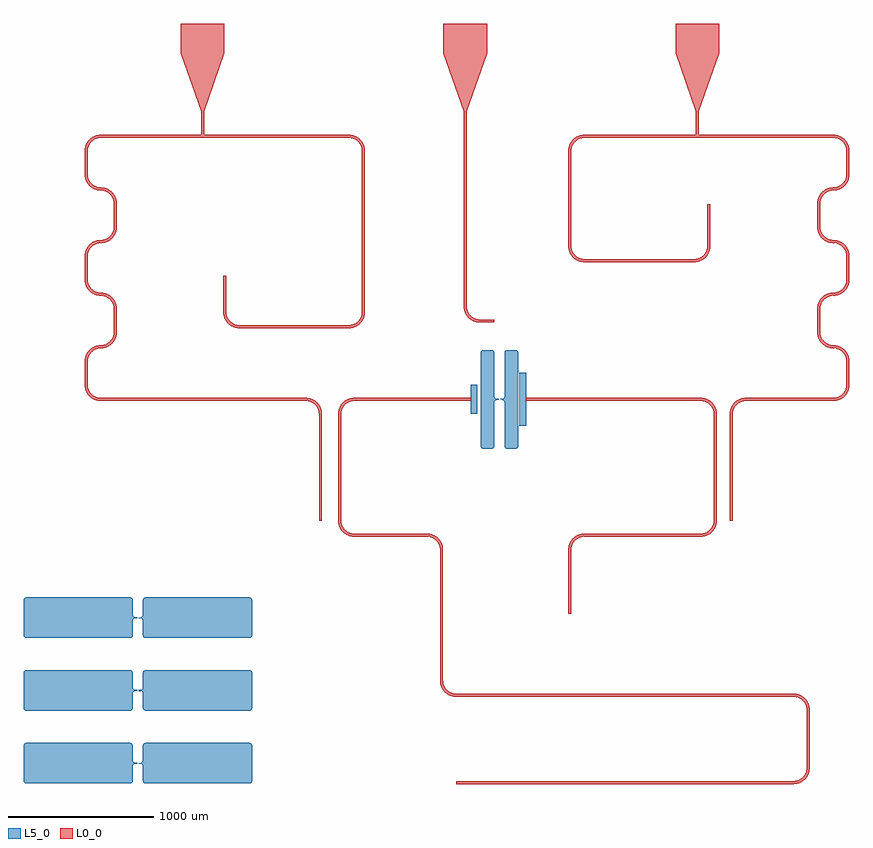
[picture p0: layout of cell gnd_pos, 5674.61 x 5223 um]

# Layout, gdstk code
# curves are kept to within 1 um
import gdstk
lib = gdstk.Library(unit=1e-6, precision=1e-09)
def R(c, l, rs):  # rectangles x0, y0, x1, y1
    for r in rs: c.add(gdstk.rectangle(r[:2], r[2:], *l))
def A(c, l, x, y, w, h, nx, ny, dx, dy):  # array of equal rectangles
    R(c, l, [(x+i*dx, y+j*dy, x+i*dx+w, y+j*dy+h) for i in range(nx) for j in range(ny)])
def P(c, l, *ps):  # polygons
    for p in ps: c.add(gdstk.Polygon(p, *l))
L0_0 = (0, 0)
L5_0 = (5, 0)

gnd_pos = lib.new_cell('gnd_pos')
A(gnd_pos, L0_0, 884.888, 3600, 20, 161.6, 1, 3, 0, 723.2)
A(gnd_pos, L0_0, 6119.612, 3600, 20, 161.6, 1, 3, 0, 723.2)
R(gnd_pos, L0_0, [(3436.9,857,5756.661,877), (5846.661,967,5866.661,1367), (3436.9,1457,5756.661,1477), (3326.9,1567,3346.9,2467), (4208.1,2027.239,4228.1,2051.239), (4208.1,2051.239,4228.1,2467), (2736.9,2557,3236.9,2577), (4318.1,2557,5118.1,2577), (2494.9,2667,2514.9,3400), (2626.9,2667,2646.9,3400), (5208.1,2667,5228.1,3400), (5318.1,2667,5338.1,3400), (994.888,3490,2404.9,3510), (2736.9,3490,3539.9,3510), (3915.1,3490,5118.1,3510), (5428.1,3490,6029.612,3510), (1084.888,3961.6,1104.888,4123.2), (5919.612,3961.6,5939.612,4123.2), (1947.444,3990,2700,4010), (3600,4028.8,3700,4048.8), (1837.444,4100,1857.444,4349.205), (2790,4100,2810,5208), (3490,4138.8,3510,5480), (4318.1,4444,5073.856,4464), (4208.1,4554,4228.1,5208), (5163.856,4554,5183.856,4841.105), (1084.888,4684.8,1104.888,4846.4), (5919.612,4684.8,5939.612,4846.4), (994.888,5298,1695,5318), (1695,5298,2700,5318), (4318.1,5298,5095,5318), (5095,5298,6029.612,5318), (1685,5308,1705,5480), (5085,5308,5105,5480), (1545,5880,1845,6080), (3350,5880,3650,6080), (4945,5880,5245,6080)])
P(gnd_pos, L0_0, [(3490,5480),(3350,5880),(3650,5880),(3510,5480)],
  [(3600,4028.8),(3579.271,4030.771),(3559.285,4036.613),(3538.269,4047.754),(3522.218,4061.018),(3508.954,4077.069),(3497.813,4098.085),(3491.971,4118.071),(3490,4138.8),(3510,4138.8),(3511.186,4124.24),(3514.711,4110.063),(3520.484,4096.643),(3529.853,4082.414),(3543.614,4068.653),(3560.012,4058.171),(3578.28,4051.46),(3600,4048.8)],
  [(2626.9,3400),(2628.871,3420.729),(2634.713,3440.715),(2645.854,3461.731),(2659.118,3477.782),(2675.169,3491.046),(2696.185,3502.187),(2716.171,3508.029),(2736.9,3510),(2736.9,3490),(2722.34,3488.814),(2708.163,3485.289),(2694.743,3479.516),(2680.514,3470.147),(2666.753,3456.386),(2656.271,3439.988),(2649.56,3421.72),(2646.9,3400)],
  [(2736.9,2557),(2716.171,2558.971),(2696.185,2564.813),(2675.169,2575.954),(2659.118,2589.218),(2645.854,2605.269),(2634.713,2626.285),(2628.871,2646.271),(2626.9,2667),(2646.9,2667),(2648.086,2652.44),(2651.611,2638.263),(2657.384,2624.843),(2666.753,2610.614),(2680.514,2596.853),(2696.912,2586.371),(2715.18,2579.66),(2736.9,2577)],
  [(3326.9,2467),(3325.714,2481.56),(3322.189,2495.737),(3316.416,2509.157),(3307.047,2523.386),(3293.286,2537.147),(3276.888,2547.629),(3258.62,2554.34),(3236.9,2557),(3236.9,2577),(3263.447,2573.749),(3285.774,2565.546),(3305.816,2552.735),(3322.635,2535.916),(3332.655,2521.138),(3340.153,2504.933),(3344.929,2487.729),(3346.739,2472.955),(3346.9,2467)],
  [(3436.9,1457),(3416.171,1458.971),(3396.185,1464.813),(3375.169,1475.954),(3359.118,1489.218),(3345.854,1505.269),(3334.713,1526.285),(3328.871,1546.271),(3326.9,1567),(3346.9,1567),(3348.086,1552.44),(3351.611,1538.263),(3357.384,1524.843),(3366.753,1510.614),(3380.514,1496.853),(3396.912,1486.371),(3415.18,1479.66),(3436.9,1477)],
  [(5846.661,1367),(5845.475,1381.56),(5841.95,1395.737),(5836.177,1409.157),(5826.808,1423.386),(5813.047,1437.147),(5796.649,1447.629),(5778.382,1454.34),(5756.661,1457),(5756.661,1477),(5783.208,1473.749),(5805.535,1465.546),(5825.577,1452.735),(5842.397,1435.916),(5852.417,1421.138),(5858.849,1407.715),(5864.089,1390.647),(5866.5,1372.955),(5866.661,1367)],
  [(5756.661,857),(5756.661,877),(5771.221,878.186),(5785.398,881.711),(5798.818,887.484),(5813.047,896.853),(5826.808,910.614),(5837.29,927.012),(5844.001,945.28),(5846.661,967),(5866.661,967),(5864.69,946.271),(5858.849,926.285),(5847.707,905.269),(5834.443,889.218),(5818.392,875.954),(5800.129,865.953),(5780.308,859.572)],
  [(1685,5480),(1545,5880),(1845,5880),(1705,5480)],
  [(2494.9,3400),(2493.714,3414.56),(2490.189,3428.737),(2484.416,3442.157),(2475.047,3456.386),(2461.286,3470.147),(2444.888,3480.629),(2426.62,3487.34),(2404.9,3490),(2404.9,3510),(2431.447,3506.749),(2453.774,3498.546),(2473.816,3485.735),(2490.635,3468.916),(2500.655,3454.138),(2508.153,3437.933),(2512.929,3420.729),(2514.739,3405.955),(2514.9,3400)],
  [(994.888,3490),(974.159,3491.971),(954.173,3497.813),(933.157,3508.954),(917.106,3522.218),(903.842,3538.269),(892.701,3559.285),(886.859,3579.271),(884.888,3600),(904.888,3600),(906.074,3585.44),(909.599,3571.263),(915.372,3557.843),(924.741,3543.614),(938.502,3529.853),(954.9,3519.371),(973.168,3512.66),(994.888,3510)],
  [(884.888,3761.6),(886.859,3782.329),(892.701,3802.315),(903.842,3823.331),(917.106,3839.382),(933.157,3852.646),(954.173,3863.787),(974.159,3869.629),(994.888,3871.6),(994.888,3851.6),(980.328,3850.414),(966.151,3846.889),(952.731,3841.116),(938.502,3831.747),(924.741,3817.986),(914.259,3801.588),(907.548,3783.32),(904.888,3761.6)],
  [(994.888,3851.6),(994.888,3871.6),(1009.448,3872.786),(1023.625,3876.311),(1037.045,3882.084),(1051.274,3891.453),(1065.035,3905.214),(1076.57,3923.81),(1082.784,3942.253),(1084.888,3961.6),(1104.888,3961.6),(1102.917,3940.871),(1097.075,3920.885),(1085.934,3899.869),(1072.67,3883.818),(1056.619,3870.554),(1035.603,3859.413),(1015.617,3853.571)],
  [(1084.888,4123.2),(1083.702,4137.76),(1080.177,4151.937),(1074.404,4165.357),(1065.035,4179.586),(1051.274,4193.347),(1034.876,4203.829),(1016.608,4210.54),(994.888,4213.2),(994.888,4233.2),(1021.435,4229.949),(1043.762,4221.746),(1063.804,4208.935),(1080.623,4192.116),(1089.142,4179.911),(1097.075,4163.915),(1102.316,4146.847),(1104.727,4129.155),(1104.888,4123.2)],
  [(994.888,4213.2),(974.159,4215.171),(954.173,4221.013),(933.157,4232.154),(917.106,4245.418),(903.842,4261.469),(892.701,4282.485),(886.859,4302.471),(884.888,4323.2),(904.888,4323.2),(906.074,4308.64),(909.599,4294.463),(915.372,4281.043),(924.741,4266.814),(938.502,4253.053),(954.9,4242.571),(973.168,4235.86),(994.888,4233.2)],
  [(884.888,4484.8),(886.859,4505.529),(892.701,4525.515),(903.842,4546.531),(917.106,4562.582),(933.157,4575.846),(954.173,4586.987),(974.159,4592.829),(994.888,4594.8),(994.888,4574.8),(980.328,4573.614),(966.151,4570.089),(952.731,4564.316),(938.502,4554.947),(924.741,4541.186),(914.259,4524.788),(907.548,4506.52),(904.888,4484.8)],
  [(994.888,4574.8),(994.888,4594.8),(1009.448,4595.986),(1023.625,4599.511),(1037.045,4605.284),(1051.274,4614.653),(1065.035,4628.414),(1076.57,4647.01),(1082.784,4665.453),(1084.888,4684.8),(1104.888,4684.8),(1102.917,4664.071),(1097.075,4644.085),(1085.934,4623.069),(1072.67,4607.018),(1056.619,4593.754),(1035.603,4582.613),(1015.617,4576.771)],
  [(1084.888,4846.4),(1083.702,4860.96),(1080.177,4875.137),(1074.404,4888.557),(1065.035,4902.786),(1051.274,4916.547),(1034.876,4927.029),(1016.608,4933.74),(994.888,4936.4),(994.888,4956.4),(1021.435,4953.149),(1043.762,4944.946),(1063.804,4932.135),(1080.623,4915.316),(1089.142,4903.111),(1097.075,4887.115),(1102.316,4870.047),(1104.727,4852.355),(1104.888,4846.4)],
  [(994.888,4936.4),(974.159,4938.371),(954.173,4944.213),(933.157,4955.354),(917.106,4968.618),(903.842,4984.669),(892.701,5005.685),(886.859,5025.671),(884.888,5046.4),(904.888,5046.4),(906.074,5031.84),(909.599,5017.663),(915.372,5004.243),(924.741,4990.014),(938.502,4976.253),(954.9,4965.771),(973.168,4959.06),(994.888,4956.4)],
  [(884.888,5208),(886.859,5228.729),(892.701,5248.715),(903.842,5269.731),(917.106,5285.782),(933.157,5299.046),(954.173,5310.187),(974.159,5316.029),(994.888,5318),(994.888,5298),(980.328,5296.814),(966.151,5293.289),(952.731,5287.516),(938.502,5278.147),(924.741,5264.386),(914.259,5247.988),(907.548,5229.72),(904.888,5208)],
  [(2790,5208),(2788.814,5222.56),(2785.289,5236.737),(2779.516,5250.157),(2770.147,5264.386),(2756.386,5278.147),(2739.988,5288.629),(2721.72,5295.34),(2700,5298),(2700,5318),(2726.547,5314.749),(2748.874,5306.546),(2768.916,5293.735),(2785.735,5276.916),(2795.755,5262.138),(2803.253,5245.933),(2808.029,5228.729),(2809.839,5213.955),(2810,5208)],
  [(2700,3990),(2700,4010),(2714.56,4011.186),(2728.737,4014.711),(2742.157,4020.484),(2756.386,4029.853),(2770.147,4043.614),(2780.629,4060.012),(2787.34,4078.28),(2790,4100),(2810,4100),(2808.029,4079.271),(2802.187,4059.285),(2791.046,4038.269),(2777.782,4022.218),(2761.731,4008.954),(2740.715,3997.813),(2720.729,3991.971)],
  [(1947.444,3990),(1926.715,3991.971),(1906.729,3997.813),(1885.713,4008.954),(1869.662,4022.218),(1856.398,4038.269),(1845.257,4059.285),(1839.415,4079.271),(1837.444,4100),(1857.444,4100),(1858.63,4085.44),(1862.155,4071.263),(1867.928,4057.843),(1877.297,4043.614),(1891.058,4029.853),(1907.456,4019.371),(1925.724,4012.66),(1947.444,4010)],
  [(5208.1,3400),(5206.914,3414.56),(5203.389,3428.737),(5197.616,3442.157),(5188.247,3456.386),(5174.486,3470.147),(5158.088,3480.629),(5139.82,3487.34),(5118.1,3490),(5118.1,3510),(5144.647,3506.749),(5166.974,3498.546),(5187.016,3485.735),(5203.835,3468.916),(5213.855,3454.138),(5221.353,3437.933),(5226.129,3420.729),(5227.939,3405.955),(5228.1,3400)],
  [(5118.1,2557),(5118.1,2577),(5132.66,2578.186),(5146.837,2581.711),(5160.257,2587.484),(5174.486,2596.853),(5188.247,2610.614),(5198.729,2627.012),(5205.44,2645.28),(5208.1,2667),(5228.1,2667),(5226.129,2646.271),(5220.287,2626.285),(5209.146,2605.269),(5195.882,2589.218),(5179.831,2575.954),(5158.815,2564.813),(5138.829,2558.971)],
  [(4208.1,2467),(4210.071,2487.729),(4215.913,2507.715),(4227.054,2528.731),(4240.318,2544.782),(4256.369,2558.046),(4277.385,2569.187),(4297.371,2575.029),(4318.1,2577),(4318.1,2557),(4303.54,2555.814),(4289.363,2552.289),(4275.943,2546.516),(4261.714,2537.147),(4247.953,2523.386),(4237.471,2506.988),(4230.76,2488.72),(4228.1,2467)],
  [(5085,5480),(4945,5880),(5245,5880),(5105,5480)],
  [(5318.1,3400),(5320.071,3420.729),(5325.913,3440.715),(5337.054,3461.731),(5350.318,3477.782),(5366.369,3491.046),(5387.385,3502.187),(5407.371,3508.029),(5428.1,3510),(5428.1,3490),(5413.54,3488.814),(5399.363,3485.289),(5385.943,3479.516),(5371.714,3470.147),(5357.953,3456.386),(5347.471,3439.988),(5340.76,3421.72),(5338.1,3400)],
  [(6029.612,3490),(6029.612,3510),(6044.172,3511.186),(6058.349,3514.711),(6071.769,3520.484),(6085.998,3529.853),(6099.759,3543.614),(6110.241,3560.012),(6116.952,3578.28),(6119.612,3600),(6139.612,3600),(6137.641,3579.271),(6131.799,3559.285),(6120.658,3538.269),(6107.394,3522.218),(6091.343,3508.954),(6070.327,3497.813),(6050.341,3491.971)],
  [(6119.612,3761.6),(6118.426,3776.16),(6114.901,3790.337),(6109.128,3803.757),(6099.759,3817.986),(6085.998,3831.747),(6069.6,3842.229),(6051.332,3848.94),(6029.612,3851.6),(6029.612,3871.6),(6056.159,3868.349),(6078.486,3860.146),(6098.528,3847.335),(6115.347,3830.516),(6125.367,3815.738),(6132.865,3799.533),(6137.641,3782.329),(6139.451,3767.555),(6139.612,3761.6)],
  [(6029.612,3851.6),(6008.883,3853.571),(5988.897,3859.413),(5967.881,3870.554),(5951.83,3883.818),(5938.566,3899.869),(5927.425,3920.885),(5921.583,3940.871),(5919.612,3961.6),(5939.612,3961.6),(5940.798,3947.04),(5944.323,3932.863),(5950.096,3919.443),(5959.465,3905.214),(5973.226,3891.453),(5989.624,3880.971),(6007.892,3874.26),(6029.612,3871.6)],
  [(5919.612,4123.2),(5921.583,4143.929),(5927.425,4163.915),(5938.566,4184.931),(5951.83,4200.982),(5967.881,4214.246),(5988.897,4225.387),(6008.883,4231.229),(6029.612,4233.2),(6029.612,4213.2),(6015.052,4212.014),(6000.875,4208.489),(5987.455,4202.716),(5973.226,4193.347),(5959.465,4179.586),(5947.93,4160.99),(5941.716,4142.547),(5939.612,4123.2)],
  [(6029.612,4213.2),(6029.612,4233.2),(6044.172,4234.386),(6058.349,4237.911),(6071.769,4243.684),(6085.998,4253.053),(6099.759,4266.814),(6110.241,4283.212),(6116.952,4301.48),(6119.612,4323.2),(6139.612,4323.2),(6137.641,4302.471),(6131.799,4282.485),(6120.658,4261.469),(6107.394,4245.418),(6091.343,4232.154),(6070.327,4221.013),(6050.341,4215.171)],
  [(6119.612,4484.8),(6118.426,4499.36),(6114.901,4513.537),(6109.128,4526.957),(6099.759,4541.186),(6085.998,4554.947),(6069.6,4565.429),(6051.332,4572.14),(6029.612,4574.8),(6029.612,4594.8),(6056.159,4591.549),(6078.486,4583.346),(6098.528,4570.535),(6115.347,4553.716),(6125.367,4538.938),(6132.865,4522.733),(6137.641,4505.529),(6139.451,4490.755),(6139.612,4484.8)],
  [(6029.612,4574.8),(6008.883,4576.771),(5988.897,4582.613),(5967.881,4593.754),(5951.83,4607.018),(5938.566,4623.069),(5927.425,4644.085),(5921.583,4664.071),(5919.612,4684.8),(5939.612,4684.8),(5940.798,4670.24),(5944.323,4656.063),(5950.096,4642.643),(5959.465,4628.414),(5973.226,4614.653),(5989.624,4604.171),(6007.892,4597.46),(6029.612,4594.8)],
  [(5919.612,4846.4),(5921.583,4867.129),(5927.425,4887.115),(5938.566,4908.131),(5951.83,4924.182),(5967.881,4937.446),(5988.897,4948.587),(6008.883,4954.429),(6029.612,4956.4),(6029.612,4936.4),(6015.052,4935.214),(6000.875,4931.689),(5987.455,4925.916),(5973.226,4916.547),(5959.465,4902.786),(5947.93,4884.19),(5941.716,4865.747),(5939.612,4846.4)],
  [(6029.612,4936.4),(6029.612,4956.4),(6044.172,4957.586),(6058.349,4961.111),(6071.769,4966.884),(6085.998,4976.253),(6099.759,4990.014),(6110.241,5006.412),(6116.952,5024.68),(6119.612,5046.4),(6139.612,5046.4),(6137.641,5025.671),(6131.799,5005.685),(6120.658,4984.669),(6107.394,4968.618),(6091.343,4955.354),(6070.327,4944.213),(6050.341,4938.371)],
  [(6119.612,5208),(6118.426,5222.56),(6114.901,5236.737),(6109.128,5250.157),(6099.759,5264.386),(6085.998,5278.147),(6069.6,5288.629),(6051.332,5295.34),(6029.612,5298),(6029.612,5318),(6056.159,5314.749),(6078.486,5306.546),(6098.528,5293.735),(6115.347,5276.916),(6125.367,5262.138),(6132.865,5245.933),(6137.641,5228.729),(6139.451,5213.955),(6139.612,5208)],
  [(4208.1,5208),(4210.071,5228.729),(4215.913,5248.715),(4227.054,5269.731),(4240.318,5285.782),(4256.369,5299.046),(4277.385,5310.187),(4297.371,5316.029),(4318.1,5318),(4318.1,5298),(4303.54,5296.814),(4289.363,5293.289),(4275.943,5287.516),(4261.714,5278.147),(4247.953,5264.386),(4237.471,5247.988),(4230.76,5229.72),(4228.1,5208)],
  [(4318.1,4444),(4297.371,4445.971),(4277.385,4451.813),(4256.369,4462.954),(4240.318,4476.218),(4227.054,4492.269),(4215.913,4513.285),(4210.071,4533.271),(4208.1,4554),(4228.1,4554),(4229.286,4539.44),(4232.811,4525.263),(4238.584,4511.843),(4247.953,4497.614),(4261.714,4483.853),(4278.112,4473.371),(4296.38,4466.66),(4318.1,4464)],
  [(5073.856,4444),(5073.856,4464),(5088.416,4465.186),(5102.593,4468.711),(5116.013,4474.484),(5130.242,4483.853),(5144.003,4497.614),(5154.485,4514.012),(5161.196,4532.28),(5163.856,4554),(5183.856,4554),(5181.885,4533.271),(5176.043,4513.285),(5164.902,4492.269),(5151.638,4476.218),(5135.587,4462.954),(5114.571,4451.813),(5094.585,4445.971)],
  [(2700,5298),(2700,5318),(2700,5318),(2700,5298)])
R(gnd_pos, L5_0, [(3871.1,3317.5,3918.1,3682.5), (3536.9,3400,3583.9,3600)])
P(gnd_pos, L5_0, [(3626.4,3161.2),(3619.454,3162.445),(3612.621,3166.704),(3608.444,3172.392),(3606.426,3180.187),(3606.503,3820.823),(3611.225,3831.827),(3621.387,3838.162),(3682.023,3838.697),(3688.808,3836.756),(3694.496,3832.579),(3698.379,3826.687),(3699.974,3819.813),(3700.17,3516.474),(3703.076,3509.702),(3708.903,3505.191),(3730,3504),(3730,3502),(3706,3502),(3706,3503.2),(3702,3503.2),(3702,3496.8),(3706,3496.8),(3706,3498),(3730,3498),(3730,3496),(3708.903,3494.809),(3702.635,3489.698),(3700.075,3482.787),(3699.083,3175.213),(3693.779,3166.704),(3684.026,3161.609)],
  [(3790,3161.2),(3783.054,3162.445),(3776.221,3166.704),(3772.044,3172.392),(3770.026,3180.187),(3769.83,3483.526),(3766.924,3490.298),(3761.097,3494.809),(3740,3496),(3740,3498),(3764,3498),(3764,3496.8),(3768,3496.8),(3768,3503.2),(3764,3503.2),(3764,3502),(3740,3502),(3740,3504),(3761.097,3505.191),(3767.365,3510.302),(3769.925,3517.213),(3770.917,3824.787),(3776.221,3833.296),(3785.974,3838.391),(3845.623,3838.697),(3852.408,3836.756),(3858.096,3832.579),(3861.979,3826.687),(3863.574,3819.813),(3863.497,3179.177),(3858.775,3168.173),(3848.613,3161.838)],
  [(1305,861.2),(1298.054,862.445),(1291.973,866.025),(1287.513,871.494),(1285.231,878.171),(1284.085,986.405),(1280.428,991.954),(1274.701,995.326),(1255,996),(1255,998),(1279,998),(1279,996.8),(1283,996.8),(1283,1003.2),(1279,1003.2),(1279,1002),(1255,1002),(1255,1004),(1275.405,1004.915),(1280.954,1008.572),(1284.326,1014.299),(1285.103,1120.823),(1289.184,1131.042),(1298.054,1137.555),(1305,1138.8),(2015,1138.8),(2026.425,1135.215),(2033.755,1125.746),(2035,1118.8),(2034.974,880.187),(2030.816,868.958),(2021.946,862.445),(2015,861.2)],
  [(485,861.2),(478.054,862.445),(471.221,866.704),(466.621,873.313),(465,881.2),(465.026,1119.813),(469.184,1131.042),(478.054,1137.555),(485,1138.8),(1195,1138.8),(1206.425,1135.215),(1213.755,1125.746),(1215,1118.8),(1215.469,1015.015),(1218.546,1009.125),(1224.595,1004.915),(1245,1004),(1245,1002),(1221,1002),(1221,1003.2),(1217,1003.2),(1217,996.8),(1221,996.8),(1221,998),(1245,998),(1245,996),(1224.595,995.085),(1219.046,991.428),(1215.674,985.701),(1214.897,879.177),(1210.816,868.958),(1201.946,862.445),(1195,861.2)],
  [(1305,1361.2),(1298.054,1362.445),(1291.973,1366.025),(1287.513,1371.494),(1285.231,1378.171),(1284.085,1486.405),(1280.428,1491.954),(1274.701,1495.326),(1255,1496),(1255,1498),(1279,1498),(1279,1496.8),(1283,1496.8),(1283,1503.2),(1279,1503.2),(1279,1502),(1255,1502),(1255,1504),(1275.405,1504.915),(1280.954,1508.572),(1284.326,1514.299),(1285.103,1620.823),(1289.184,1631.042),(1298.054,1637.555),(1305,1638.8),(2015,1638.8),(2026.425,1635.215),(2033.755,1625.746),(2035,1618.8),(2034.974,1380.187),(2030.816,1368.958),(2021.946,1362.445),(2015,1361.2)],
  [(485,1361.2),(478.054,1362.445),(471.221,1366.704),(466.621,1373.313),(465,1381.2),(465.026,1619.813),(469.184,1631.042),(478.054,1637.555),(485,1638.8),(1195,1638.8),(1206.425,1635.215),(1213.755,1625.746),(1215,1618.8),(1215.469,1515.015),(1218.546,1509.125),(1224.595,1504.915),(1245,1504),(1245,1502),(1221,1502),(1221,1503.2),(1217,1503.2),(1217,1496.8),(1221,1496.8),(1221,1498),(1245,1498),(1245,1496),(1224.595,1495.085),(1219.046,1491.428),(1215.674,1485.701),(1214.897,1379.177),(1210.816,1368.958),(1201.946,1362.445),(1195,1361.2)],
  [(1305,1861.2),(1298.054,1862.445),(1291.973,1866.025),(1287.513,1871.494),(1285.231,1878.171),(1284.085,1986.405),(1280.428,1991.954),(1274.701,1995.326),(1255,1996),(1255,1998),(1279,1998),(1279,1996.8),(1283,1996.8),(1283,2003.2),(1279,2003.2),(1279,2002),(1255,2002),(1255,2004),(1275.405,2004.915),(1280.954,2008.572),(1284.326,2014.299),(1285.103,2120.823),(1289.184,2131.042),(1298.054,2137.555),(1305,2138.8),(2015,2138.8),(2026.425,2135.215),(2033.755,2125.746),(2035,2118.8),(2034.974,1880.187),(2030.816,1868.958),(2021.946,1862.445),(2015,1861.2)],
  [(485,1861.2),(478.054,1862.445),(471.221,1866.704),(466.621,1873.313),(465,1881.2),(465.026,2119.813),(469.184,2131.042),(478.054,2137.555),(485,2138.8),(1195,2138.8),(1206.425,2135.215),(1213.755,2125.746),(1215,2118.8),(1215.469,2015.015),(1218.546,2009.125),(1224.595,2004.915),(1245,2004),(1245,2002),(1221,2002),(1221,2003.2),(1217,2003.2),(1217,1996.8),(1221,1996.8),(1221,1998),(1245,1998),(1245,1996),(1224.595,1995.085),(1219.046,1991.428),(1215.674,1985.701),(1214.897,1879.177),(1210.816,1868.958),(1201.946,1862.445),(1195,1861.2)])

lib.write_gds('gnd_pos.gds')
